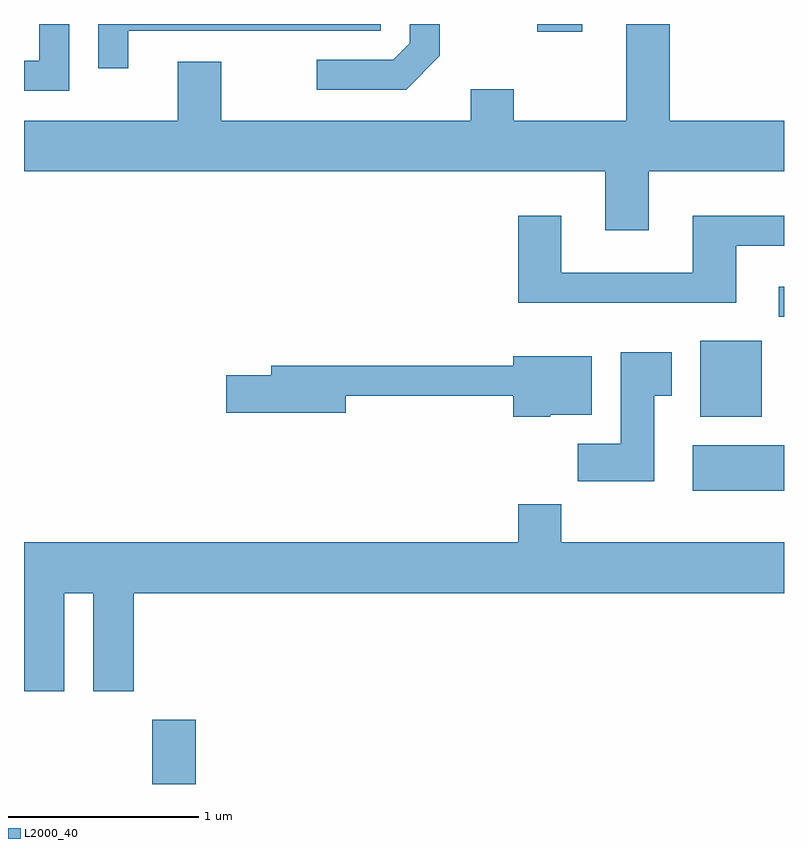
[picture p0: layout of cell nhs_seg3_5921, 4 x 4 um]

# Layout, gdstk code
import gdstk
lib = gdstk.Library(unit=1e-6, precision=1e-09)
def R(c, l, rs):  # rectangles x0, y0, x1, y1
    for r in rs: c.add(gdstk.rectangle(r[:2], r[2:], *l))
def P(c, l, *ps):  # polygons
    for p in ps: c.add(gdstk.Polygon(p, *l))
L2000_40 = (2000, 40)

nhs_seg3_5921 = lib.new_cell('nhs_seg3_5921')
R(nhs_seg3_5921, L2000_40, [(360.286,1133.892,360.514,1134.229), (363.131,1135.436,363.611,1135.674), (363.171,1135.826,363.494,1136.224), (363.583,1136.351,363.611,1136.509), (362.313,1137.851,362.549,1137.892)])
P(nhs_seg3_5921, L2000_40, [(362.899,1137.116),(363.611,1137.116),(363.611,1137.384),(363.009,1137.384),(363.009,1137.892),(362.781,1137.892),(362.781,1137.384),(362.189,1137.384),(362.189,1137.549),(361.961,1137.549),(361.961,1137.384),(360.649,1137.384),(360.649,1137.694),(360.421,1137.694),(360.421,1137.384),(359.611,1137.384),(359.611,1137.116),(362.671,1137.116),(362.671,1136.806),(362.899,1136.806)],
  [(360.159,1137.856),(361.489,1137.856),(361.489,1137.892),(360.001,1137.892),(360.001,1137.658),(360.159,1137.658)],
  [(359.849,1137.892),(359.691,1137.892),(359.691,1137.699),(359.611,1137.699),(359.611,1137.541),(359.849,1137.541)],
  [(361.799,1137.724),(361.799,1137.892),(361.641,1137.892),(361.641,1137.792),(361.554,1137.704),(361.153,1137.704),(361.153,1137.546),(361.622,1137.546)],
  [(363.359,1136.726),(363.611,1136.726),(363.611,1136.884),(363.131,1136.884),(363.131,1136.584),(362.439,1136.584),(362.439,1136.884),(362.211,1136.884),(362.211,1136.426),(363.359,1136.426)],
  [(362.929,1135.936),(363.019,1135.936),(363.019,1136.164),(362.751,1136.164),(362.751,1135.684),(362.526,1135.684),(362.526,1135.486),(362.929,1135.486)],
  [(362.38,1135.836),(362.599,1135.836),(362.599,1136.144),(362.186,1136.144),(362.186,1136.094),(360.911,1136.094),(360.911,1136.044),(360.676,1136.044),(360.676,1135.846),(361.304,1135.846),(361.304,1135.936),(362.186,1135.936),(362.186,1135.826),(362.38,1135.826)],
  [(359.824,1134.896),(359.976,1134.896),(359.976,1134.381),(360.189,1134.381),(360.189,1134.896),(363.611,1134.896),(363.611,1135.164),(362.439,1135.164),(362.439,1135.364),(362.211,1135.364),(362.211,1135.164),(359.611,1135.164),(359.611,1134.381),(359.824,1134.381)])

lib.write_gds('nhs_seg3_5921.gds')
